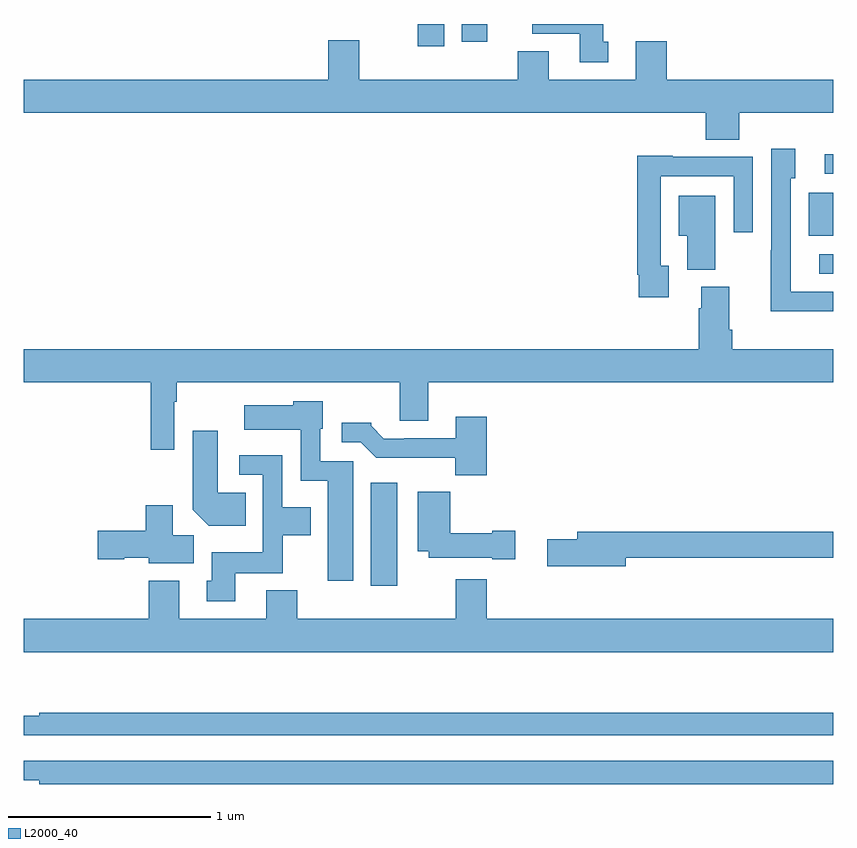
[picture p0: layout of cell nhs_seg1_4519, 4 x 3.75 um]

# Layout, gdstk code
import gdstk
lib = gdstk.Library(unit=1e-6, precision=1e-09)
def R(c, l, rs):  # rectangles x0, y0, x1, y1
    for r in rs: c.add(gdstk.rectangle(r[:2], r[2:], *l))
def P(c, l, *ps):  # polygons
    for p in ps: c.add(gdstk.Polygon(p, *l))
L2000_40 = (2000, 40)

nhs_seg1_4519 = lib.new_cell('nhs_seg1_4519')
R(nhs_seg1_4519, L2000_40, [(358.715,521.424,358.846,521.932), (360.93,522.966,361,523.062), (360.878,523.154,361,523.365), (360.957,523.458,361,523.556), (358.946,524.088,359.077,524.199), (359.165,524.112,359.29,524.199), (359.951,524.198,360.178,524.199)])
P(nhs_seg1_4519, L2000_40, [(359.887,524.112),(359.863,524.112),(359.863,524.199),(359.512,524.199),(359.512,524.15),(359.747,524.15),(359.747,524.01),(359.887,524.01)],
  [(360.176,524.113),(360.023,524.113),(360.023,523.924),(359.593,523.924),(359.593,524.065),(359.441,524.065),(359.441,523.924),(358.657,523.924),(358.657,524.119),(358.505,524.119),(358.505,523.924),(357,523.924),(357,523.76),(360.371,523.76),(360.371,523.627),(360.536,523.627),(360.536,523.76),(361,523.76),(361,523.924),(360.176,523.924)],
  [(361,522.876),(360.789,522.876),(360.789,523.437),(360.811,523.437),(360.811,523.582),(360.693,523.582),(360.693,523.082),(360.692,523.082),(360.692,522.779),(361,522.779)],
  [(360.187,523.005),(360.147,523.005),(360.147,523.446),(360.507,523.446),(360.507,523.17),(360.603,523.17),(360.603,523.542),(360.207,523.542),(360.207,523.549),(360.031,523.549),(360.031,522.961),(360.039,522.961),(360.039,522.849),(360.187,522.849)],
  [(360.418,523.351),(360.236,523.351),(360.236,523.154),(360.278,523.154),(360.278,522.985),(360.418,522.985)],
  [(357.744,522.332),(357.757,522.332),(357.757,522.428),(358.859,522.428),(358.859,522.238),(358.999,522.238),(358.999,522.428),(361,522.428),(361,522.592),(360.5,522.592),(360.5,522.688),(360.487,522.688),(360.487,522.9),(360.347,522.9),(360.347,522.794),(360.335,522.794),(360.335,522.592),(357,522.592),(357,522.428),(357.628,522.428),(357.628,522.096),(357.744,522.096)],
  [(358.627,522.039),(358.464,522.039),(358.464,522.198),(358.477,522.198),(358.477,522.334),(358.332,522.334),(358.332,522.316),(358.089,522.316),(358.089,522.194),(358.368,522.194),(358.368,521.942),(358.502,521.942),(358.502,521.448),(358.627,521.448)],
  [(359.288,522.259),(359.135,522.259),(359.135,522.153),(358.879,522.153),(358.879,522.15),(358.78,522.15),(358.716,522.214),(358.716,522.229),(358.572,522.229),(358.572,522.132),(358.665,522.132),(358.741,522.056),(359.133,522.056),(359.133,521.969),(359.288,521.969)],
  [(358.097,521.884),(357.958,521.884),(357.958,522.19),(357.836,522.19),(357.836,521.798),(357.914,521.72),(358.097,521.72)],
  [(358.045,521.486),(358.281,521.486),(358.281,521.672),(358.417,521.672),(358.417,521.812),(358.278,521.812),(358.278,522.069),(358.065,522.069),(358.065,521.973),(358.182,521.973),(358.182,521.59),(357.929,521.59),(357.929,521.448),(357.905,521.448),(357.905,521.346),(358.045,521.346)],
  [(359.428,521.696),(359.315,521.696),(359.315,521.683),(359.108,521.683),(359.108,521.887),(358.946,521.887),(358.946,521.594),(359.001,521.594),(359.001,521.561),(359.315,521.561),(359.315,521.554),(359.428,521.554)],
  [(357.841,521.672),(357.736,521.672),(357.736,521.821),(357.602,521.821),(357.602,521.696),(357.366,521.696),(357.366,521.554),(357.498,521.554),(357.498,521.561),(357.618,521.561),(357.618,521.534),(357.841,521.534)],
  [(359.974,521.562),(361,521.562),(361,521.69),(359.735,521.69),(359.735,521.654),(359.586,521.654),(359.586,521.519),(359.974,521.519)],
  [(361,521.26),(359.288,521.26),(359.288,521.455),(359.135,521.455),(359.135,521.26),(358.352,521.26),(358.352,521.401),(358.199,521.401),(358.199,521.26),(357.769,521.26),(357.769,521.449),(357.617,521.449),(357.617,521.26),(357,521.26),(357,521.096),(361,521.096)],
  [(361,520.795),(357.076,520.795),(357.076,520.782),(357,520.782),(357,520.686),(361,520.686)],
  [(361,520.56),(357,520.56),(357,520.463),(357.076,520.463),(357.076,520.444),(361,520.444)])

lib.write_gds('nhs_seg1_4519.gds')
